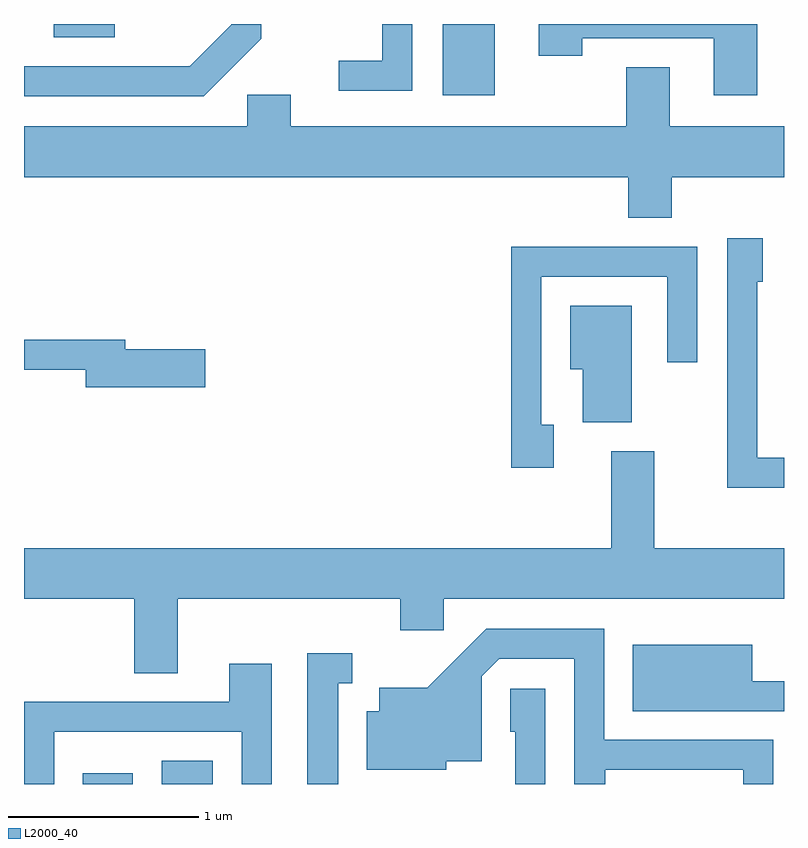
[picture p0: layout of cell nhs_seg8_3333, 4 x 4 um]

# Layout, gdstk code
import gdstk
lib = gdstk.Library(unit=1e-6, precision=1e-09)
def R(c, l, rs):  # rectangles x0, y0, x1, y1
    for r in rs: c.add(gdstk.rectangle(r[:2], r[2:], *l))
def P(c, l, *ps):  # polygons
    for p in ps: c.add(gdstk.Polygon(p, *l))
L2000_40 = (2000, 40)

nhs_seg8_3333 = lib.new_cell('nhs_seg8_3333')
R(nhs_seg8_3333, L2000_40, [(285.921,1824.342,286.184,1824.399), (286.336,1824.342,286.604,1824.464), (287.816,1827.966,288.089,1828.342), (285.768,1828.271,286.089,1828.342)])
P(nhs_seg8_3333, L2000_40, [(287.654,1828.342),(287.496,1828.342),(287.496,1828.149),(287.268,1828.149),(287.268,1827.991),(287.654,1827.991)],
  [(289.469,1828.342),(288.321,1828.342),(288.321,1828.176),(288.549,1828.176),(288.549,1828.266),(289.241,1828.266),(289.241,1827.966),(289.469,1827.966)],
  [(286.859,1828.264),(286.859,1828.342),(286.701,1828.342),(286.701,1828.337),(286.484,1828.119),(285.611,1828.119),(285.611,1827.961),(286.557,1827.961)],
  [(289.019,1827.536),(289.611,1827.536),(289.611,1827.804),(289.009,1827.804),(289.009,1828.114),(288.781,1828.114),(288.781,1827.804),(287.014,1827.804),(287.014,1827.969),(286.786,1827.969),(286.786,1827.804),(285.611,1827.804),(285.611,1827.536),(288.791,1827.536),(288.791,1827.321),(289.019,1827.321)],
  [(289.611,1826.059),(289.469,1826.059),(289.469,1826.986),(289.499,1826.986),(289.499,1827.214),(289.311,1827.214),(289.311,1825.901),(289.611,1825.901)],
  [(288.399,1826.234),(288.334,1826.234),(288.334,1827.011),(288.996,1827.011),(288.996,1826.563),(289.154,1826.563),(289.154,1827.169),(288.176,1827.169),(288.176,1826.006),(288.399,1826.006)],
  [(288.809,1826.859),(288.486,1826.859),(288.486,1826.526),(288.551,1826.526),(288.551,1826.246),(288.809,1826.246)],
  [(286.564,1826.629),(286.144,1826.629),(286.144,1826.679),(285.611,1826.679),(285.611,1826.521),(285.936,1826.521),(285.936,1826.431),(286.564,1826.431)],
  [(286.419,1825.316),(287.591,1825.316),(287.591,1825.151),(287.819,1825.151),(287.819,1825.316),(289.611,1825.316),(289.611,1825.584),(288.929,1825.584),(288.929,1826.094),(288.701,1826.094),(288.701,1825.584),(285.611,1825.584),(285.611,1825.316),(286.191,1825.316),(286.191,1824.926),(286.419,1824.926)],
  [(288.669,1824.416),(289.396,1824.416),(289.396,1824.342),(289.554,1824.342),(289.554,1824.574),(288.664,1824.574),(288.664,1825.159),(288.044,1825.159),(287.734,1824.849),(287.481,1824.849),(287.481,1824.724),(287.416,1824.724),(287.416,1824.416),(287.834,1824.416),(287.834,1824.461),(288.019,1824.461),(288.019,1824.909),(288.112,1825.001),(288.506,1825.001),(288.506,1824.342),(288.669,1824.342)],
  [(289.611,1824.884),(289.444,1824.884),(289.444,1825.074),(288.816,1825.074),(288.816,1824.726),(289.611,1824.726)],
  [(287.264,1824.871),(287.338,1824.871),(287.338,1825.029),(287.101,1825.029),(287.101,1824.342),(287.264,1824.342)],
  [(285.769,1824.616),(286.756,1824.616),(286.756,1824.342),(286.914,1824.342),(286.914,1824.974),(286.691,1824.974),(286.691,1824.774),(285.611,1824.774),(285.611,1824.342),(285.769,1824.342)],
  [(288.354,1824.844),(288.171,1824.844),(288.171,1824.616),(288.196,1824.616),(288.196,1824.342),(288.354,1824.342)])

lib.write_gds('nhs_seg8_3333.gds')
